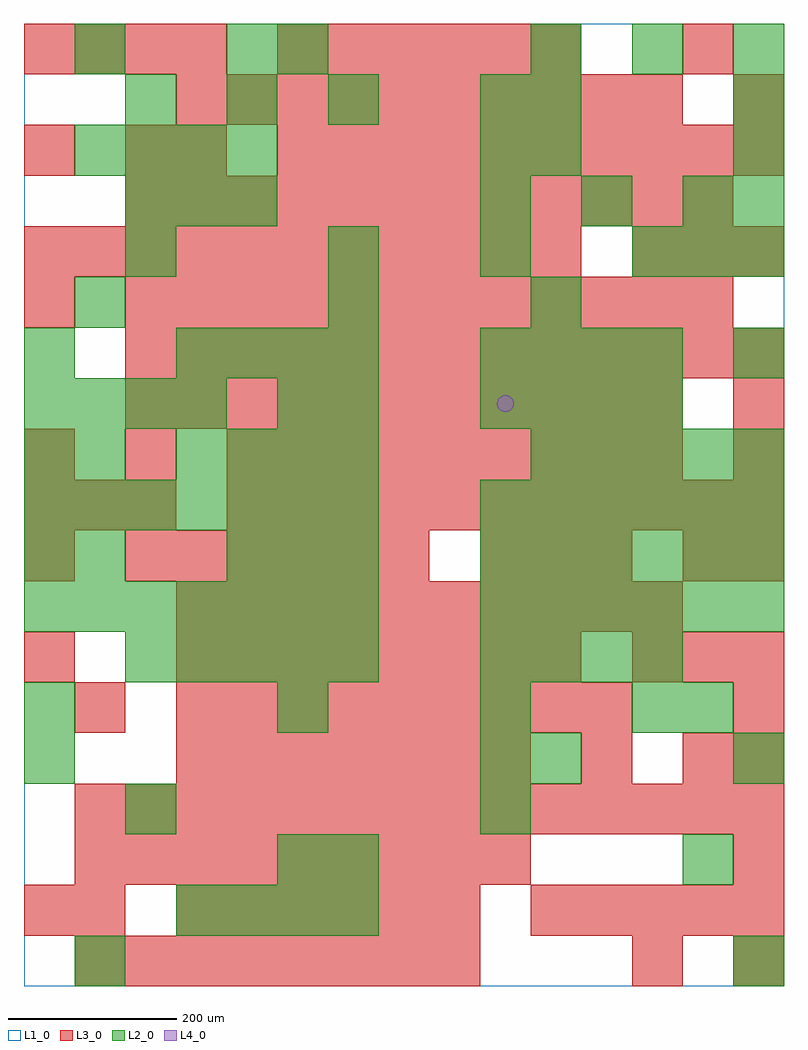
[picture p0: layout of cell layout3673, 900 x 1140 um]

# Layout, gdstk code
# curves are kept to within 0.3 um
import gdstk
lib = gdstk.Library(unit=1e-6, precision=1e-09)
def R(c, l, rs):  # rectangles x0, y0, x1, y1
    for r in rs: c.add(gdstk.rectangle(r[:2], r[2:], *l))
def A(c, l, x, y, w, h, nx, ny, dx, dy):  # array of equal rectangles
    R(c, l, [(x+i*dx, y+j*dy, x+i*dx+w, y+j*dy+h) for i in range(nx) for j in range(ny)])
def P(c, l, *ps):  # polygons
    for p in ps: c.add(gdstk.Polygon(p, *l))
L1_0 = (1, 0)
L2_0 = (2, 0)
L3_0 = (3, 0)
L4_0 = (4, 0)

layout3673 = lib.new_cell('layout3673')
R(layout3673, L1_0, [(0,0,900,1140)])
A(layout3673, L2_0, 180, 60, 60, 60, 4, 2, 60, 540)
A(layout3673, L2_0, 540, 180, 60, 60, 1, 3, 0, 60)
A(layout3673, L2_0, 120, 360, 60, 60, 5, 1, 60, 0)
A(layout3673, L2_0, 540, 360, 60, 60, 4, 2, 60, 300)
A(layout3673, L2_0, 0, 420, 60, 60, 7, 2, 60, 120)
A(layout3673, L2_0, 540, 420, 60, 60, 6, 3, 60, 60)
A(layout3673, L2_0, 0, 480, 60, 60, 1, 3, 0, 120)
A(layout3673, L2_0, 240, 480, 60, 60, 3, 1, 60, 0)
A(layout3673, L2_0, 600, 600, 60, 60, 5, 1, 60, 0)
A(layout3673, L2_0, 0, 660, 60, 60, 4, 1, 60, 0)
A(layout3673, L2_0, 180, 720, 60, 60, 4, 1, 60, 0)
A(layout3673, L2_0, 540, 720, 60, 60, 4, 1, 60, 0)
A(layout3673, L2_0, 360, 840, 60, 60, 3, 1, 180, 0)
A(layout3673, L2_0, 840, 840, 60, 60, 1, 4, 0, 60)
A(layout3673, L2_0, 120, 900, 60, 60, 3, 1, 60, 0)
A(layout3673, L2_0, 540, 900, 60, 60, 3, 1, 120, 0)
A(layout3673, L2_0, 60, 960, 60, 60, 4, 1, 60, 0)
A(layout3673, L2_0, 120, 1020, 60, 60, 3, 1, 120, 0)
A(layout3673, L2_0, 600, 1080, 60, 60, 3, 1, 120, 0)
R(layout3673, L2_0, [(60,0,120,60), (840,0,900,60), (300,120,360,180), (360,120,420,180), (780,120,840,180), (120,180,180,240), (0,240,60,300), (600,240,660,300), (840,240,900,300), (0,300,60,360), (300,300,360,360), (720,300,780,360), (780,300,840,360), (60,480,120,540), (60,600,120,660), (300,660,360,720), (360,660,420,720), (840,720,900,780), (60,780,120,840), (360,780,420,840), (600,780,660,840), (120,840,180,900), (780,840,840,900), (540,960,600,1020), (600,960,660,1020), (540,1020,600,1080), (600,1020,660,1080), (60,1080,120,1140), (240,1080,300,1140), (300,1080,360,1140)])
A(layout3673, L3_0, 60, 0, 60, 60, 8, 1, 60, 0)
A(layout3673, L3_0, 840, 0, 60, 60, 1, 3, 0, 120)
A(layout3673, L3_0, 180, 60, 60, 60, 6, 1, 60, 0)
A(layout3673, L3_0, 600, 60, 60, 60, 5, 1, 60, 0)
A(layout3673, L3_0, 60, 120, 60, 60, 9, 1, 60, 0)
A(layout3673, L3_0, 60, 180, 60, 60, 14, 1, 60, 0)
A(layout3673, L3_0, 180, 240, 60, 60, 7, 1, 60, 0)
A(layout3673, L3_0, 180, 300, 60, 60, 9, 1, 60, 0)
A(layout3673, L3_0, 180, 360, 60, 60, 8, 1, 60, 0)
A(layout3673, L3_0, 720, 360, 60, 60, 3, 2, 60, 480)
A(layout3673, L3_0, 180, 420, 60, 60, 10, 2, 60, 600)
A(layout3673, L3_0, 120, 480, 60, 60, 6, 1, 60, 0)
A(layout3673, L3_0, 540, 480, 60, 60, 3, 1, 60, 0)
A(layout3673, L3_0, 0, 540, 60, 60, 3, 1, 60, 0)
A(layout3673, L3_0, 240, 540, 60, 60, 11, 1, 60, 0)
A(layout3673, L3_0, 0, 600, 60, 60, 3, 1, 120, 0)
A(layout3673, L3_0, 300, 600, 60, 60, 8, 1, 60, 0)
A(layout3673, L3_0, 120, 660, 60, 60, 11, 1, 60, 0)
A(layout3673, L3_0, 120, 720, 60, 60, 13, 1, 60, 0)
A(layout3673, L3_0, 120, 780, 60, 60, 12, 2, 60, 120)
A(layout3673, L3_0, 0, 840, 60, 60, 11, 1, 60, 0)
A(layout3673, L3_0, 300, 960, 60, 60, 10, 1, 60, 0)
A(layout3673, L3_0, 0, 1080, 60, 60, 4, 1, 60, 0)
A(layout3673, L3_0, 300, 1080, 60, 60, 6, 1, 60, 0)
R(layout3673, L3_0, [(720,0,780,60), (0,60,60,120), (60,60,120,120), (660,240,720,300), (780,240,840,300), (60,300,120,360), (840,300,900,360), (0,360,60,420), (0,480,60,540), (780,480,840,540), (840,480,900,540), (840,600,900,660), (840,660,900,720), (0,780,60,840), (0,960,60,1020), (120,960,180,1020), (180,960,240,1020), (840,1020,900,1080), (780,1080,840,1140)])
P(layout3673, L4_0, [(580,690),(579.239,693.827),(577.071,697.071),(573.827,699.239),(570,700),(566.173,699.239),(562.929,697.071),(560.761,693.827),(560,690),(560.761,686.173),(562.929,682.929),(566.173,680.761),(570,680),(573.827,680.761),(577.071,682.929),(579.239,686.173)])

lib.write_gds('layout3673.gds')
